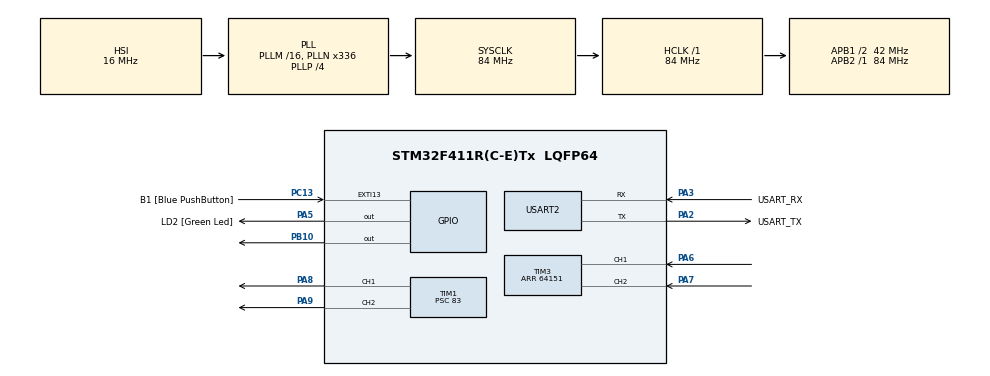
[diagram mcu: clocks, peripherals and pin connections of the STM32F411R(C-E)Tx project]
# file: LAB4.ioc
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ARM.CMSIS.5.6.0.CMSISJjCORE=true
ARM.CMSIS.5.6.0.CMSISJjDSP=Library
Mcu.Family=STM32F4
Mcu.Name=STM32F411R(C-E)Tx
Mcu.Package=LQFP64
NVIC.PriorityGroup=NVIC_PRIORITYGROUP_0
PA13.GPIO_Label=TMS
PA13.Mode=Trace_Asynchronous_SW
PA13.Signal=SYS_JTMS-SWDIO
PA14.GPIO_Label=TCK
PA14.Mode=Trace_Asynchronous_SW
PA14.Signal=SYS_JTCK-SWCLK
PA2.GPIO_Label=USART_TX
PA2.Mode=Asynchronous
PA2.Signal=USART2_TX
PA3.GPIO_Label=USART_RX
PA3.Mode=Asynchronous
PA3.Signal=USART2_RX
PA5.GPIO_Label=LD2 [Green Led]
PA5.Signal=GPIO_Output
PA6.Signal=S_TIM3_CH1
PA7.Signal=S_TIM3_CH2
PA8.Signal=S_TIM1_CH1
PA9.Signal=S_TIM1_CH2
PB10.Signal=GPIO_Output
PB3.GPIO_Label=SWO
PB3.Mode=Trace_Asynchronous_SW
PB3.Signal=SYS_JTDO-SWO
PC13-ANTI_TAMP.GPIO_Label=B1 [Blue PushButton]
PC13-ANTI_TAMP.GPIO_ModeDefaultEXTI=GPIO_MODE_IT_FALLING
PC13-ANTI_TAMP.Signal=GPXTI13
PC14-OSC32_IN.Mode=LSE-External-Oscillator
PC14-OSC32_IN.Signal=RCC_OSC32_IN
PC15-OSC32_OUT.Mode=LSE-External-Oscillator
PC15-OSC32_OUT.Signal=RCC_OSC32_OUT
PH0\ -\ OSC_IN.Mode=HSE-External-Clock-Source
PH0\ -\ OSC_IN.Signal=RCC_OSC_IN
PH1\ -\ OSC_OUT.Mode=HSE-External-Clock-Source
PH1\ -\ OSC_OUT.Signal=RCC_OSC_OUT
ProjectManager.HeapSize=0x200
ProjectManager.StackSize=0x400
ProjectManager.TargetToolchain=STM32CubeIDE
RCC.48MHZClocksFreq_Value=84000000
RCC.AHBFreq_Value=84000000
RCC.APB1CLKDivider=RCC_HCLK_DIV2
RCC.APB1Freq_Value=42000000
RCC.APB1TimFreq_Value=84000000
RCC.APB2Freq_Value=84000000
RCC.APB2TimFreq_Value=84000000
RCC.CortexFreq_Value=84000000
RCC.FLatency-AdvancedSettings=FLASH_LATENCY_2
RCC.HCLKFreq_Value=84000000
RCC.HSE_VALUE=8000000
RCC.HSI_VALUE=16000000
RCC.PLLN=336
RCC.PLLP=RCC_PLLP_DIV4
RCC.SYSCLKFreq_VALUE=84000000
RCC.SYSCLKSource=RCC_SYSCLKSOURCE_PLLCLK
RCC.VCOOutputFreq_Value=336000000
SH.S_TIM1_CH1.0=TIM1_CH1,PWM Generation1 CH1
SH.S_TIM1_CH2.0=TIM1_CH2,PWM Generation2 CH2
SH.S_TIM3_CH1.0=TIM3_CH1,Encoder_Interface
SH.S_TIM3_CH2.0=TIM3_CH2,Encoder_Interface
TIM1.Channel-PWM\ Generation1\ CH1=TIM_CHANNEL_1
TIM1.Channel-PWM\ Generation2\ CH2=TIM_CHANNEL_2
TIM1.Period=1000
TIM1.Prescaler=83
TIM1.Pulse-PWM\ Generation1\ CH1=0
TIM2.Prescaler=83
TIM3.EncoderMode=TIM_ENCODERMODE_TI12
TIM3.Period=64151
USART2.VirtualMode=VM_ASYNC
VP_ARM.CMSIS_VS_CMSISJjCORE_5.3.0_5.6.0.Mode=CMSISJjCORE
VP_ARM.CMSIS_VS_CMSISJjDSP_1.7.0_5.6.0.Mode=CMSISJjDSP
VP_TIM1_VS_ClockSourceINT.Mode=Internal
VP_TIM2_VS_ClockSourceINT.Mode=Internal
board=NUCLEO-F411RE

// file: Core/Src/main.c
/* USER CODE BEGIN Header */
/**
  ******************************************************************************
  * @file           : main.c
  * @brief          : Main program body
  ******************************************************************************
  * @attention
  *
  * Copyright (c) 2023 STMicroelectronics.
  * All rights reserved.
  *
  * This software is licensed under terms that can be found in the LICENSE file
  * in the root directory of this software component.
  * If no LICENSE file comes with this software, it is provided AS-IS.
  *
  ******************************************************************************
  */
/* USER CODE END Header */
#include "main.h"

/* USER CODE BEGIN Includes */
#include "arm_math.h"
#include "math.h"
/* USER CODE END Includes */

TIM_HandleTypeDef htim1;
TIM_HandleTypeDef htim2;
TIM_HandleTypeDef htim3;

UART_HandleTypeDef huart2;

/* USER CODE BEGIN PV */
uint32_t QEIRead;
arm_pid_instance_f32 PID = {0};
int32_t position = 0;
int32_t setposition = 0;
float Vfeedback = 0;
float test;
uint16_t direction = 0;
int16_t duty,duty1,duty2;
/* USER CODE END PV */

void SystemClock_Config(void);
static void MX_GPIO_Init(void);
static void MX_USART2_UART_Init(void);
static void MX_TIM2_Init(void);
static void MX_TIM3_Init(void);
static void MX_TIM1_Init(void);
/* USER CODE BEGIN PFP */
float PlantSim(float Vin);
float unwrap(float32_t value)
{
	static int32_t count = 0;
	static float32_t delay_value = 0;
	if(value - delay_value >= 64512*0.6)
	{
		count -= 1;
	}
	else if (value - delay_value <= -64512*0.6)
	{
		count +=1;
	}
	delay_value = value;
	return count*64512 + value;
}
/* USER CODE END PFP */

int main(void)
{

  /* MCU Configuration--------------------------------------------------------*/

  /* Reset of all peripherals, Initializes the Flash interface and the Systick. */
  HAL_Init();

  /* Configure the system clock */
  SystemClock_Config();

  /* Initialize all configured peripherals */
  MX_GPIO_Init();
  MX_USART2_UART_Init();
  MX_TIM2_Init();
  MX_TIM3_Init();
  MX_TIM1_Init();
  /* USER CODE BEGIN 2 */
HAL_TIM_PWM_Start(&htim1, TIM_CHANNEL_1);
HAL_TIM_PWM_Start(&htim1, TIM_CHANNEL_2);
  HAL_TIM_Encoder_Start(&htim3, TIM_CHANNEL_1|TIM_CHANNEL_2);
  HAL_TIM_Base_Start(&htim2);
PID.Kp = 2.8;
PID.Kd = 0.1;
PID.Ki = 0.008;
arm_pid_init_f32(&PID, 0);
  /* USER CODE END 2 */

  /* Infinite loop */
  /* USER CODE BEGIN WHILE */
  while (1)
  {
  	  static uint32_t timestamp = 0;
  	  if (timestamp < __HAL_TIM_GET_COUNTER(&htim2))
  	  {
  		  timestamp = __HAL_TIM_GET_COUNTER(&htim2) + 1000;
  		  QEIRead = __HAL_TIM_GET_COUNTER(&htim3);
  		  position = unwrap(QEIRead)*360/3072;

  		duty = arm_pid_f32(&PID, setposition-position);
  		if(duty > 1000)
  		{
  			duty = 1000;
  		}
  		if(duty < -1000)
  		{
  			duty = -1000;
  		}
  		  if(duty > 0)
  		  {
  			  duty1 = duty;
  			  duty2 = 0;
  		  }
  		  else if (duty < 0)
  		  {
  			  duty2 = -duty;
  			  duty1 = 0;
  		  }
  		  else {
			duty1 = 0;
			duty2 = 0;
		}
  		  __HAL_TIM_SET_COMPARE(&htim1,TIM_CHANNEL_1,duty1);
  		 __HAL_TIM_SET_COMPARE(&htim1,TIM_CHANNEL_2,duty2);

  	  }
    }
  /* USER CODE END 3 */
}

void SystemClock_Config(void)
{
  RCC_OscInitTypeDef RCC_OscInitStruct = {0};
  RCC_ClkInitTypeDef RCC_ClkInitStruct = {0};

  /** Configure the main internal regulator output voltage
  */
  __HAL_RCC_PWR_CLK_ENABLE();
  __HAL_PWR_VOLTAGESCALING_CONFIG(PWR_REGULATOR_VOLTAGE_SCALE1);

  /** Initializes the RCC Oscillators according to the specified parameters
  * in the RCC_OscInitTypeDef structure.
  */
  RCC_OscInitStruct.OscillatorType = RCC_OSCILLATORTYPE_HSI;
  RCC_OscInitStruct.HSIState = RCC_HSI_ON;
  RCC_OscInitStruct.HSICalibrationValue = RCC_HSICALIBRATION_DEFAULT;
  RCC_OscInitStruct.PLL.PLLState = RCC_PLL_ON;
  RCC_OscInitStruct.PLL.PLLSource = RCC_PLLSOURCE_HSI;
  RCC_OscInitStruct.PLL.PLLM = 16;
  RCC_OscInitStruct.PLL.PLLN = 336;
  RCC_OscInitStruct.PLL.PLLP = RCC_PLLP_DIV4;
  RCC_OscInitStruct.PLL.PLLQ = 4;
  if (HAL_RCC_OscConfig(&RCC_OscInitStruct) != HAL_OK)
  {
    Error_Handler();
  }

  /** Initializes the CPU, AHB and APB buses clocks
  */
  RCC_ClkInitStruct.ClockType = RCC_CLOCKTYPE_HCLK|RCC_CLOCKTYPE_SYSCLK
                              |RCC_CLOCKTYPE_PCLK1|RCC_CLOCKTYPE_PCLK2;
  RCC_ClkInitStruct.SYSCLKSource = RCC_SYSCLKSOURCE_PLLCLK;
  RCC_ClkInitStruct.AHBCLKDivider = RCC_SYSCLK_DIV1;
  RCC_ClkInitStruct.APB1CLKDivider = RCC_HCLK_DIV2;
  RCC_ClkInitStruct.APB2CLKDivider = RCC_HCLK_DIV1;

  if (HAL_RCC_ClockConfig(&RCC_ClkInitStruct, FLASH_LATENCY_2) != HAL_OK)
  {
    Error_Handler();
  }
}

static void MX_TIM1_Init(void)
{

  TIM_ClockConfigTypeDef sClockSourceConfig = {0};
  TIM_MasterConfigTypeDef sMasterConfig = {0};
  TIM_OC_InitTypeDef sConfigOC = {0};
  TIM_BreakDeadTimeConfigTypeDef sBreakDeadTimeConfig = {0};

  htim1.Instance = TIM1;
  htim1.Init.Prescaler = 83;
  htim1.Init.CounterMode = TIM_COUNTERMODE_UP;
  htim1.Init.Period = 1000;
  htim1.Init.ClockDivision = TIM_CLOCKDIVISION_DIV1;
  htim1.Init.RepetitionCounter = 0;
  htim1.Init.AutoReloadPreload = TIM_AUTORELOAD_PRELOAD_DISABLE;
  if (HAL_TIM_Base_Init(&htim1) != HAL_OK)
  {
    Error_Handler();
  }
  sClockSourceConfig.ClockSource = TIM_CLOCKSOURCE_INTERNAL;
  if (HAL_TIM_ConfigClockSource(&htim1, &sClockSourceConfig) != HAL_OK)
  {
    Error_Handler();
  }
  if (HAL_TIM_PWM_Init(&htim1) != HAL_OK)
  {
    Error_Handler();
  }
  sMasterConfig.MasterOutputTrigger = TIM_TRGO_RESET;
  sMasterConfig.MasterSlaveMode = TIM_MASTERSLAVEMODE_DISABLE;
  if (HAL_TIMEx_MasterConfigSynchronization(&htim1, &sMasterConfig) != HAL_OK)
  {
    Error_Handler();
  }
  sConfigOC.OCMode = TIM_OCMODE_PWM1;
  sConfigOC.Pulse = 0;
  sConfigOC.OCPolarity = TIM_OCPOLARITY_HIGH;
  sConfigOC.OCNPolarity = TIM_OCNPOLARITY_HIGH;
  sConfigOC.OCFastMode = TIM_OCFAST_DISABLE;
  sConfigOC.OCIdleState = TIM_OCIDLESTATE_RESET;
  sConfigOC.OCNIdleState = TIM_OCNIDLESTATE_RESET;
  if (HAL_TIM_PWM_ConfigChannel(&htim1, &sConfigOC, TIM_CHANNEL_1) != HAL_OK)
  {
    Error_Handler();
  }
  if (HAL_TIM_PWM_ConfigChannel(&htim1, &sConfigOC, TIM_CHANNEL_2) != HAL_OK)
  {
    Error_Handler();
  }
  sBreakDeadTimeConfig.OffStateRunMode = TIM_OSSR_DISABLE;
  sBreakDeadTimeConfig.OffStateIDLEMode = TIM_OSSI_DISABLE;
  sBreakDeadTimeConfig.LockLevel = TIM_LOCKLEVEL_OFF;
  sBreakDeadTimeConfig.DeadTime = 0;
  sBreakDeadTimeConfig.BreakState = TIM_BREAK_DISABLE;
  sBreakDeadTimeConfig.BreakPolarity = TIM_BREAKPOLARITY_HIGH;
  sBreakDeadTimeConfig.AutomaticOutput = TIM_AUTOMATICOUTPUT_DISABLE;
  if (HAL_TIMEx_ConfigBreakDeadTime(&htim1, &sBreakDeadTimeConfig) != HAL_OK)
  {
    Error_Handler();
  }
  HAL_TIM_MspPostInit(&htim1);

}

static void MX_TIM2_Init(void)
{

  TIM_ClockConfigTypeDef sClockSourceConfig = {0};
  TIM_MasterConfigTypeDef sMasterConfig = {0};

  htim2.Instance = TIM2;
  htim2.Init.Prescaler = 83;
  htim2.Init.CounterMode = TIM_COUNTERMODE_UP;
  htim2.Init.Period = 4294967295;
  htim2.Init.ClockDivision = TIM_CLOCKDIVISION_DIV1;
  htim2.Init.AutoReloadPreload = TIM_AUTORELOAD_PRELOAD_DISABLE;
  if (HAL_TIM_Base_Init(&htim2) != HAL_OK)
  {
    Error_Handler();
  }
  sClockSourceConfig.ClockSource = TIM_CLOCKSOURCE_INTERNAL;
  if (HAL_TIM_ConfigClockSource(&htim2, &sClockSourceConfig) != HAL_OK)
  {
    Error_Handler();
  }
  sMasterConfig.MasterOutputTrigger = TIM_TRGO_RESET;
  sMasterConfig.MasterSlaveMode = TIM_MASTERSLAVEMODE_DISABLE;
  if (HAL_TIMEx_MasterConfigSynchronization(&htim2, &sMasterConfig) != HAL_OK)
  {
    Error_Handler();
  }

}

static void MX_TIM3_Init(void)
{

  TIM_Encoder_InitTypeDef sConfig = {0};
  TIM_MasterConfigTypeDef sMasterConfig = {0};

  htim3.Instance = TIM3;
  htim3.Init.Prescaler = 0;
  htim3.Init.CounterMode = TIM_COUNTERMODE_UP;
  htim3.Init.Period = 64151;
  htim3.Init.ClockDivision = TIM_CLOCKDIVISION_DIV1;
  htim3.Init.AutoReloadPreload = TIM_AUTORELOAD_PRELOAD_DISABLE;
  sConfig.EncoderMode = TIM_ENCODERMODE_TI12;
  sConfig.IC1Polarity = TIM_ICPOLARITY_RISING;
  sConfig.IC1Selection = TIM_ICSELECTION_DIRECTTI;
  sConfig.IC1Prescaler = TIM_ICPSC_DIV1;
  sConfig.IC1Filter = 0;
  sConfig.IC2Polarity = TIM_ICPOLARITY_RISING;
  sConfig.IC2Selection = TIM_ICSELECTION_DIRECTTI;
  sConfig.IC2Prescaler = TIM_ICPSC_DIV1;
  sConfig.IC2Filter = 0;
  if (HAL_TIM_Encoder_Init(&htim3, &sConfig) != HAL_OK)
  {
    Error_Handler();
  }
  sMasterConfig.MasterOutputTrigger = TIM_TRGO_RESET;
  sMasterConfig.MasterSlaveMode = TIM_MASTERSLAVEMODE_DISABLE;
  if (HAL_TIMEx_MasterConfigSynchronization(&htim3, &sMasterConfig) != HAL_OK)
  {
    Error_Handler();
  }

}

static void MX_USART2_UART_Init(void)
{

  huart2.Instance = USART2;
  huart2.Init.BaudRate = 115200;
  huart2.Init.WordLength = UART_WORDLENGTH_8B;
  huart2.Init.StopBits = UART_STOPBITS_1;
  huart2.Init.Parity = UART_PARITY_NONE;
  huart2.Init.Mode = UART_MODE_TX_RX;
  huart2.Init.HwFlowCtl = UART_HWCONTROL_NONE;
  huart2.Init.OverSampling = UART_OVERSAMPLING_16;
  if (HAL_UART_Init(&huart2) != HAL_OK)
  {
    Error_Handler();
  }

}

static void MX_GPIO_Init(void)
{
  GPIO_InitTypeDef GPIO_InitStruct = {0};

  /* GPIO Ports Clock Enable */
  __HAL_RCC_GPIOC_CLK_ENABLE();
  __HAL_RCC_GPIOH_CLK_ENABLE();
  __HAL_RCC_GPIOA_CLK_ENABLE();
  __HAL_RCC_GPIOB_CLK_ENABLE();

  /*Configure GPIO pin Output Level */
  HAL_GPIO_WritePin(LD2_GPIO_Port, LD2_Pin, GPIO_PIN_RESET);

  /*Configure GPIO pin Output Level */
  HAL_GPIO_WritePin(GPIOB, GPIO_PIN_10, GPIO_PIN_RESET);

  /*Configure GPIO pin : B1_Pin */
  GPIO_InitStruct.Pin = B1_Pin;
  GPIO_InitStruct.Mode = GPIO_MODE_IT_FALLING;
  GPIO_InitStruct.Pull = GPIO_NOPULL;
  HAL_GPIO_Init(B1_GPIO_Port, &GPIO_InitStruct);

  /*Configure GPIO pin : LD2_Pin */
  GPIO_InitStruct.Pin = LD2_Pin;
  GPIO_InitStruct.Mode = GPIO_MODE_OUTPUT_PP;
  GPIO_InitStruct.Pull = GPIO_NOPULL;
  GPIO_InitStruct.Speed = GPIO_SPEED_FREQ_LOW;
  HAL_GPIO_Init(LD2_GPIO_Port, &GPIO_InitStruct);

  /*Configure GPIO pin : PB10 */
  GPIO_InitStruct.Pin = GPIO_PIN_10;
  GPIO_InitStruct.Mode = GPIO_MODE_OUTPUT_PP;
  GPIO_InitStruct.Pull = GPIO_NOPULL;
  GPIO_InitStruct.Speed = GPIO_SPEED_FREQ_LOW;
  HAL_GPIO_Init(GPIOB, &GPIO_InitStruct);

}

/* USER CODE BEGIN 4 */
float PlantSim(float Vin)
{
	static float speed = 0;
	static float position = 0;
	float current = Vin - speed*0.0123;
	float torque = current* 0.456;
	float acc = torque * 0.789;
	speed += acc;
	position += speed;
	return position;
}
/* USER CODE END 4 */

void Error_Handler(void)
{
  __disable_irq();
  while (1)
  {
  }
}
